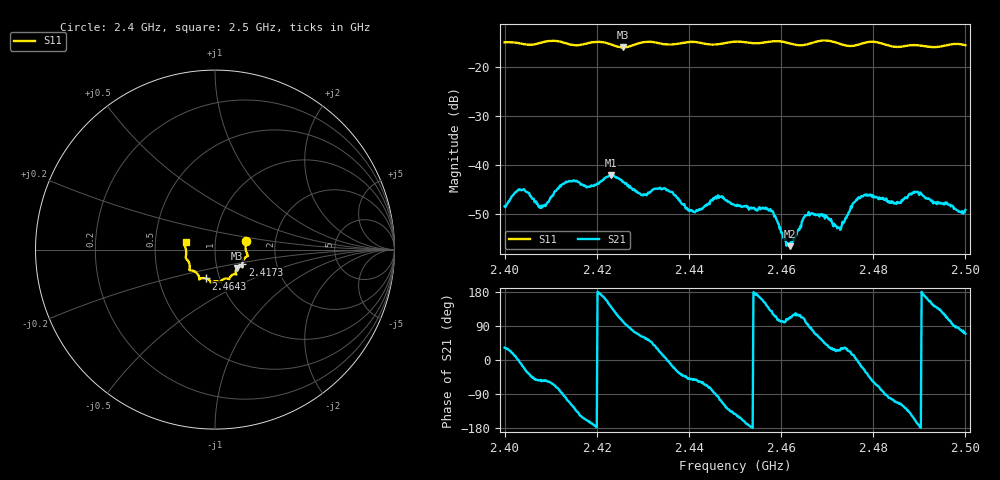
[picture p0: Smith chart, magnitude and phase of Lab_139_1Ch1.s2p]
# Hz S RI R 50
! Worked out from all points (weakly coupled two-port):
!   601 points, 2.4 GHz to 2.5 GHz, reference 50 ohm
!   highest |S21| = -42.06 dB at 2.423 GHz (marker M1); lowest = -56.5 dB at 2.4618 GHz (marker M2)
!   lowest |S11| = -15.9 dB at 2.4257 GHz (marker M3), VSWR 1.38, Z = 62.5 - j13.1 ohm
!   |S11| at or under -10 dB: start of sweep to end of sweep
!   S12 and S22 are empty: the file has one direction only
!   S11 on the Smith chart (normalised r, x): 2.4 GHz: 1.41, +0.14; 2.4173 GHz: 1.34, -0.23; 2.4643 GHz: 0.86, -0.28; 2.5 GHz: 0.72, +0.06
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2.4e9  0.173 0.0497  0.00322 0.00204  0 0  0 0
2.403e9  0.1734 0.0349  0.00565 9.62e-07  0 0  0 0
2.408e9  0.1782 -0.0209  0.00205 -0.00305  0 0  0 0
2.412833e9  0.1747 -0.0396  -0.000492 -0.00645  0 0  0 0
2.416667e9  0.1529 -0.0749  -0.00545 -0.00333  0 0  0 0
2.417333e9  0.1523 -0.0824  -0.00556 -0.00257  0 0  0 0
2.423e9  0.1451 -0.0932  -0.0062 0.00487  0 0  0 0
2.425667e9  0.1228 -0.1023  -0.00136 0.00659  0 0  0 0
2.429833e9  0.1177 -0.1356  0.00236 0.00437  0 0  0 0
2.433333e9  0.1125 -0.1367  0.00514 0.00264  0 0  0 0
2.441e9  0.078 -0.1645  0.00212 -0.00262  0 0  0 0
2.446667e9  0.0426 -0.1678  -0.00125 -0.0046  0 0  0 0
2.45e9  0.0297 -0.1809  -0.00306 -0.00239  0 0  0 0
2.457833e9  -0.018 -0.1828  -0.00213 0.00264  0 0  0 0
2.461833e9  -0.0289 -0.1735  -0.000551 0.00139  0 0  0 0
2.464333e9  -0.0502 -0.1607  -0.000889 0.00214  0 0  0 0
2.466667e9  -0.0763 -0.1599  0.000585 0.00318  0 0  0 0
2.472667e9  -0.0896 -0.15  0.00207 0.00101  0 0  0 0
2.477167e9  -0.1283 -0.1165  0.00452 -0.000948  0 0  0 0
2.483333e9  -0.141 -0.0896  -0.000722 -0.00424  0 0  0 0
2.489167e9  -0.1628 -0.045  -0.00499 -0.00181  0 0  0 0
2.5e9  -0.1634 0.0419  0.00122 0.00327  0 0  0 0
